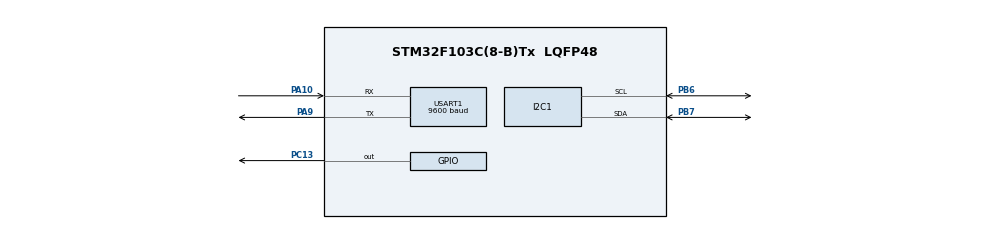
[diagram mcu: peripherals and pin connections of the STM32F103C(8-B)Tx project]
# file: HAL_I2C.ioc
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Mcu.Family=STM32F1
Mcu.Name=STM32F103C(8-B)Tx
Mcu.Package=LQFP48
NVIC.I2C1_ER_IRQn=true\:0\:0\:false\:false\:true\:true\:true\:true
NVIC.I2C1_EV_IRQn=true\:0\:0\:false\:false\:true\:true\:true\:true
NVIC.PriorityGroup=NVIC_PRIORITYGROUP_4
NVIC.USART1_IRQn=true\:0\:0\:false\:false\:true\:true\:true\:true
PA10.Mode=Asynchronous
PA10.Signal=USART1_RX
PA13.Mode=Serial_Wire
PA13.Signal=SYS_JTMS-SWDIO
PA14.Mode=Serial_Wire
PA14.Signal=SYS_JTCK-SWCLK
PA9.Mode=Asynchronous
PA9.Signal=USART1_TX
PB6.Mode=I2C
PB6.Signal=I2C1_SCL
PB7.Mode=I2C
PB7.Signal=I2C1_SDA
PC13-TAMPER-RTC.GPIO_PuPd=GPIO_PULLUP
PC13-TAMPER-RTC.PinState=GPIO_PIN_SET
PC13-TAMPER-RTC.Signal=GPIO_Output
ProjectManager.HeapSize=0x200
ProjectManager.StackSize=0x400
ProjectManager.TargetToolchain=MDK-ARM V5.32
RCC.APB1Freq_Value=8000000
RCC.APB2Freq_Value=8000000
USART1.BaudRate=9600
USART1.VirtualMode=VM_ASYNC
board=custom

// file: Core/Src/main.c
/* USER CODE BEGIN Header */
/**
  ******************************************************************************
  * @file           : main.c
  * @brief          : Main program body
  ******************************************************************************
  * @attention
  *
  * Copyright (c) 2023 STMicroelectronics.
  * All rights reserved.
  *
  * This software is licensed under terms that can be found in the LICENSE file
  * in the root directory of this software component.
  * If no LICENSE file comes with this software, it is provided AS-IS.
  *
  ******************************************************************************
  */
/* USER CODE END Header */
#include "main.h"

/* USER CODE BEGIN Includes */
#include <stdio.h>
#include <stdint.h>
/* USER CODE END Includes */

/* USER CODE BEGIN PTD */
#define DS3231_I2C_ADDR     0x68<<1
uint8_t B2D(uint8_t data);
uint8_t D2B(uint8_t data);
uint8_t TranBuffer[7];
uint8_t revBuffer[7];
uint8_t status =0;

typedef struct {
    uint8_t sec;
    uint8_t min;
    uint8_t hour;
    uint8_t date;
	  uint8_t day;
    uint8_t month;
    uint16_t year;
}DS3231_typedef;
DS3231_typedef DS3231_TimeNow;
DS3231_typedef DS3231_TimeSet;

uint8_t B2D(uint8_t data)
{
	return (data>>4)*10+(data&0x0f);
}
uint8_t D2B(uint8_t data)
{
	return (data/10)<<4|(data%10);
}
/* USER CODE END PTD */

I2C_HandleTypeDef hi2c1;

UART_HandleTypeDef huart1;

void SystemClock_Config(void);
static void MX_GPIO_Init(void);
static void MX_I2C1_Init(void);
static void MX_USART1_UART_Init(void);

/* USER CODE BEGIN 0 */
void HAL_I2C_MemRxCpltCallback(I2C_HandleTypeDef*hi2c)
{
	UNUSED(hi2c);
	if(hi2c->Instance==I2C1)
  {
		DS3231_TimeNow.sec=B2D(revBuffer[0]);
		DS3231_TimeNow.min=B2D(revBuffer[1]);
		DS3231_TimeNow.hour=B2D(revBuffer[2]);
		DS3231_TimeNow.day=B2D(revBuffer[3]);
		DS3231_TimeNow.date=B2D(revBuffer[4]);
		DS3231_TimeNow.month=B2D(revBuffer[5]);
		DS3231_TimeNow.year=B2D(revBuffer[6]);
	}
}

/* USER CODE END 0 */

int main(void)
{

  /* MCU Configuration--------------------------------------------------------*/

  /* Reset of all peripherals, Initializes the Flash interface and the Systick. */
  HAL_Init();

  /* Configure the system clock */
  SystemClock_Config();

  /* Initialize all configured peripherals */
  MX_GPIO_Init();
  MX_I2C1_Init();
  MX_USART1_UART_Init();
  /* USER CODE BEGIN 2 */
	HAL_GPIO_WritePin(GPIOC,GPIO_PIN_13,GPIO_PIN_SET);
  for (uint8_t i=0;i<255;i++)
  {
		if(HAL_I2C_IsDeviceReady(&hi2c1,i,1,10)==HAL_OK)
    {
			status=i;
			HAL_GPIO_WritePin(GPIOC,GPIO_PIN_13,GPIO_PIN_RESET);
		}
	}
	 TranBuffer[0]=D2B(00);
	 TranBuffer[1]=D2B(45);
	 TranBuffer[2]=D2B(20);
	 TranBuffer[3]=D2B(20);
	 TranBuffer[4]=D2B(5);
	 TranBuffer[5]=D2B(10);
	 TranBuffer[6]=D2B(20);
	 HAL_I2C_Mem_Write_IT(&hi2c1,DS3231_I2C_ADDR,0x00,I2C_MEMADD_SIZE_8BIT,TranBuffer,7);
  /* USER CODE END 2 */

  /* Infinite loop */
  while (1)
  {
	  HAL_I2C_Mem_Read_IT(&hi2c1,DS3231_I2C_ADDR,0x00,I2C_MEMADD_SIZE_8BIT,TranBuffer,7);
		HAL_Delay(1000);

  }
}

void SystemClock_Config(void)
{
  RCC_OscInitTypeDef RCC_OscInitStruct = {0};
  RCC_ClkInitTypeDef RCC_ClkInitStruct = {0};

  /** Initializes the RCC Oscillators according to the specified parameters
  * in the RCC_OscInitTypeDef structure.
  */
  RCC_OscInitStruct.OscillatorType = RCC_OSCILLATORTYPE_HSI;
  RCC_OscInitStruct.HSIState = RCC_HSI_ON;
  RCC_OscInitStruct.HSICalibrationValue = RCC_HSICALIBRATION_DEFAULT;
  RCC_OscInitStruct.PLL.PLLState = RCC_PLL_NONE;
  if (HAL_RCC_OscConfig(&RCC_OscInitStruct) != HAL_OK)
  {
    Error_Handler();
  }

  /** Initializes the CPU, AHB and APB buses clocks
  */
  RCC_ClkInitStruct.ClockType = RCC_CLOCKTYPE_HCLK|RCC_CLOCKTYPE_SYSCLK
                              |RCC_CLOCKTYPE_PCLK1|RCC_CLOCKTYPE_PCLK2;
  RCC_ClkInitStruct.SYSCLKSource = RCC_SYSCLKSOURCE_HSI;
  RCC_ClkInitStruct.AHBCLKDivider = RCC_SYSCLK_DIV1;
  RCC_ClkInitStruct.APB1CLKDivider = RCC_HCLK_DIV1;
  RCC_ClkInitStruct.APB2CLKDivider = RCC_HCLK_DIV1;

  if (HAL_RCC_ClockConfig(&RCC_ClkInitStruct, FLASH_LATENCY_0) != HAL_OK)
  {
    Error_Handler();
  }
}

static void MX_I2C1_Init(void)
{

  hi2c1.Instance = I2C1;
  hi2c1.Init.ClockSpeed = 100000;
  hi2c1.Init.DutyCycle = I2C_DUTYCYCLE_2;
  hi2c1.Init.OwnAddress1 = 0;
  hi2c1.Init.AddressingMode = I2C_ADDRESSINGMODE_7BIT;
  hi2c1.Init.DualAddressMode = I2C_DUALADDRESS_DISABLE;
  hi2c1.Init.OwnAddress2 = 0;
  hi2c1.Init.GeneralCallMode = I2C_GENERALCALL_DISABLE;
  hi2c1.Init.NoStretchMode = I2C_NOSTRETCH_DISABLE;
  if (HAL_I2C_Init(&hi2c1) != HAL_OK)
  {
    Error_Handler();
  }

}

static void MX_USART1_UART_Init(void)
{

  huart1.Instance = USART1;
  huart1.Init.BaudRate = 9600;
  huart1.Init.WordLength = UART_WORDLENGTH_8B;
  huart1.Init.StopBits = UART_STOPBITS_1;
  huart1.Init.Parity = UART_PARITY_NONE;
  huart1.Init.Mode = UART_MODE_TX_RX;
  huart1.Init.HwFlowCtl = UART_HWCONTROL_NONE;
  huart1.Init.OverSampling = UART_OVERSAMPLING_16;
  if (HAL_UART_Init(&huart1) != HAL_OK)
  {
    Error_Handler();
  }

}

static void MX_GPIO_Init(void)
{
  GPIO_InitTypeDef GPIO_InitStruct = {0};

  /* GPIO Ports Clock Enable */
  __HAL_RCC_GPIOC_CLK_ENABLE();
  __HAL_RCC_GPIOA_CLK_ENABLE();
  __HAL_RCC_GPIOB_CLK_ENABLE();

  /*Configure GPIO pin Output Level */
  HAL_GPIO_WritePin(GPIOC, GPIO_PIN_13, GPIO_PIN_SET);

  /*Configure GPIO pin : PC13 */
  GPIO_InitStruct.Pin = GPIO_PIN_13;
  GPIO_InitStruct.Mode = GPIO_MODE_OUTPUT_PP;
  GPIO_InitStruct.Pull = GPIO_PULLUP;
  GPIO_InitStruct.Speed = GPIO_SPEED_FREQ_LOW;
  HAL_GPIO_Init(GPIOC, &GPIO_InitStruct);

}

void Error_Handler(void)
{
  __disable_irq();
  while (1)
  {
  }
}
